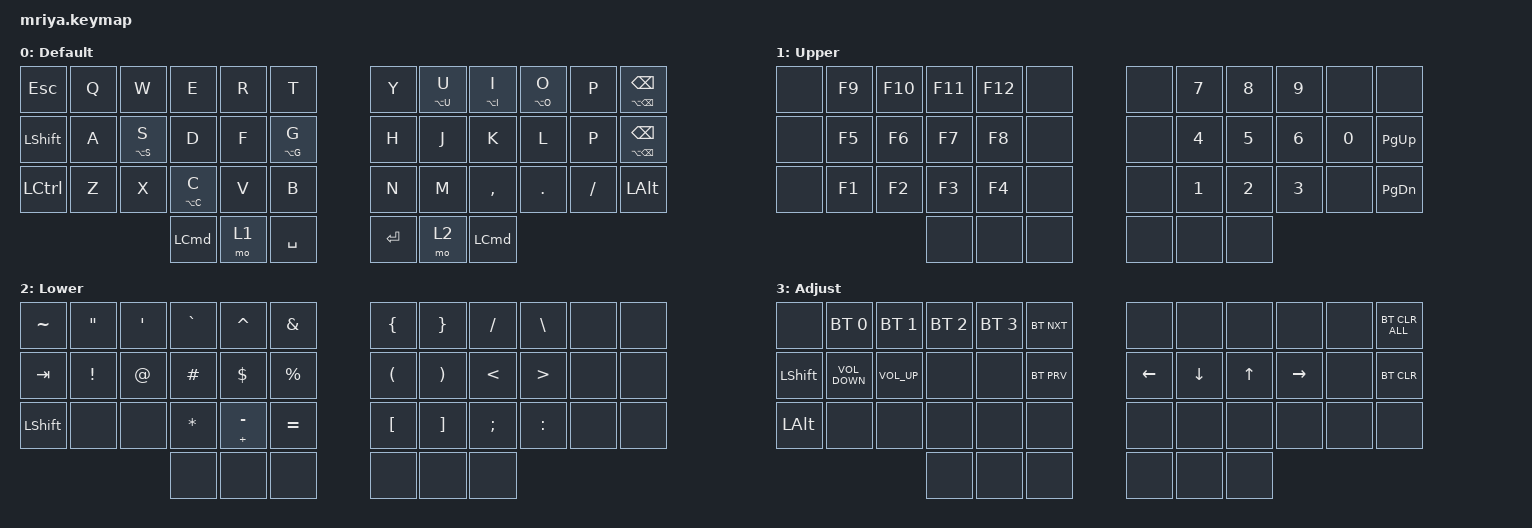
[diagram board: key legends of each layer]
/*
 * Copyright (c) 2020 The ZMK Contributors
 *
 * SPDX-License-Identifier: MIT
 */

#include <behaviors.dtsi>
#include <dt-bindings/zmk/bt.h>
#include <dt-bindings/zmk/keys.h>

#define BASE   0
#define LOWER  1
#define RAISE  2
#define ADJUST 3
#define NAVI   4

&lt {
};

&mt { flavor = "balanced"; };

/ {
};

/ {
    combos {
        compatible = "zmk,combos";

        pipe {
            bindings = <&kp PIPE>;
            key-positions = <8 9>;
            layers = <2>;
        };

        adjust-layer {
            bindings = <&mo 3>;
            key-positions = <37 40>;
            layers = <0>;
        };

        screenshot {
            bindings = <&screenshot>;
            key-positions = <16 19>;
            layers = <0>;
        };
    };
};

/ {
    macros {
        screenshot: screenshot {
            compatible = "zmk,behavior-macro";
            #binding-cells = <0>;
            bindings = <&kp LEFT_COMMAND &kp LEFT_SHIFT &kp NUMBER_4>;
            label = "SCREENSHOT";
        };
    };

    keymap {
        compatible = "zmk,keymap";

        // ▄▄▄▄▄▄▄▄▄▄▄▄▄▄▄▄▄▄▄▄▄▄▄▄▄▄▄▄▄▄▄▄▄▄▄▄▄▄▄▄▄▄▄▄▄▄▄▄▄▄▄▄▄▄▄▄▄▄▄▄▄▄▄▄▄▄▄▄▄▄▄▄▄▄▄▄▄▄▄▄▄▄▄▄▄▄▄▄▄▄▄▄▄▄▄▄▄▄▄▄▄▄▄▄▄▄▄▄▄▄▄▄▄▄

        default_layer {
            // ┌────────────────────────────────────────────┐

            label = "Default";

            // └────────────────────────────────────────────┘
            /*
┌───────┬───────┬───────┬───────┬───────┬───────┐                   ┌───────┬───────┬───────┬───────┬───────┬───────┐
│   ]   │   Q   │   W   │   E   │   R   │   T   │                   │   Y   │   U   │   I   │   O   │   P   │   [   │
├───────┼───────┼───────┼───────┼───────┼───────┤                   ├───────┼───────┼───────┼───────┼───────┼───────┤                      
│   `   │   A   │   S   │   D   │   F   │   G   │                   │   H   │   J   │   K   │   L   │   ;   │   '   │
├───────┼───────┼───────┼───────┼───────┼───────┤                   ├───────┼───────┼───────┼───────┼───────┼───────┤
│   \   │ Z/NAV │   X   │   C   │   V   │   B   │                   │   N   │   M   │   ,   │   .   │   /   │   -   │
└───────┴───────┴───────┴───────┼───────┼───────┼───────┐   ┌───────┼───────┼───────┼───────┴───────┴───────┴───────┘
                                │ RAISE │ SPACE │ LOWER │   │ LOWER │  BKSP │ RAISE │
                                └───────┴───────┴───────┘   └───────┴───────┴───────┘   
*/

            bindings = <
&kp ESCAPE        &kp Q  &kp W        &kp E        &kp R             &kp T                              &kp Y  &mt LA(U) U       &mt LA(I) I  &mt LA(O) O  &kp P     &mt LA(BACKSPACE) BACKSPACE
&kp LEFT_SHIFT    &kp A  &mt LA(S) S  &kp D        &kp F             &mt LA(G) G                        &kp H  &kp J             &kp K        &kp L        &kp P     &mt LA(BACKSPACE) BACKSPACE
&kp LEFT_CONTROL  &kp Z  &kp X        &mt LA(C) C  &kp V             &kp B                              &kp N  &kp M             &kp COMMA    &kp DOT      &kp FSLH  &kp LEFT_ALT
                                                   &kp LEFT_COMMAND  &mo 1        &kp SPACE  &kp ENTER  &mo 2  &kp LEFT_COMMAND
            >;
        };

        upper {
            // ┌────────────────────────────────────────────┐

            label = "Upper";

            // └────────────────────────────────────────────┘
            /*
┌───────┬───────┬───────┬───────┬───────┬───────┐                   ┌───────┬───────┬───────┬───────┬───────┬───────┐
│ BKSP  │   *   │   9   │   8   │   7   │   +   │                   │ NEXT  │ VOLU  │ PSCRN │       │       │ RGUI  │
├───────┼───────┼───────┼───────┼───────┼───────┤                   ├───────┼───────┼───────┼───────┼───────┼───────┤                      
│ CTRL  │   /   │   3   │   2   │   1   │   0   │                   │ PLAY  │ VOLD  │       │       │       │ CTRL  │
├───────┼───────┼───────┼───────┼───────┼───────┤                   ├───────┼───────┼───────┼───────┼───────┼───────┤
│ ALT/= │   .   │   6   │   5   │   4   │   -   │                   │ PREV  │ MUTE  │       │       │       │ RALT  │
└───────┴───────┴───────┴───────┼───────┼───────┼───────┐   ┌───────┼───────┼───────┼───────┴───────┴───────┴───────┘
                                │   ▲   │ LSHFT │  ADJ  │   │  ADJ  │ RSHFT │   ▲   │
                                └───────┴───────┴───────┘   └───────┴───────┴───────┘  
*/

            bindings = <
&none  &kp F9  &kp F10  &kp F11  &kp F12  &none                &none  &kp N7  &kp N8  &kp N9  &none         &none
&none  &kp F5  &kp F6   &kp F7   &kp F8   &none                &none  &kp N4  &kp N5  &kp N6  &kp NUMBER_0  &kp PAGE_UP
&none  &kp F1  &kp F2   &kp F3   &kp F4   &none                &none  &kp N1  &kp N2  &kp N3  &none         &kp PAGE_DOWN
                                 &none    &none  &none  &none  &none  &none
            >;
        };

        lower {
            bindings = <
&kp TILDE       &kp DOUBLE_QUOTES  &kp SINGLE_QUOTE  &kp GRAVE     &kp CARET       &kp AMPERSAND                &kp LEFT_BRACE        &kp RIGHT_BRACE        &kp SLASH      &kp BACKSLASH     &none  &none
&kp TAB         &kp EXCL           &kp AT_SIGN       &kp HASH      &kp DOLLAR      &kp PERCENT                  &kp LEFT_PARENTHESIS  &kp RIGHT_PARENTHESIS  &kp LESS_THAN  &kp GREATER_THAN  &none  &none
&kp LEFT_SHIFT  &none              &none             &kp ASTERISK  &mt PLUS MINUS  &kp EQUAL                    &kp LEFT_BRACKET      &kp RIGHT_BRACKET      &kp SEMICOLON  &kp COLON         &none  &none
                                                                   &none           &none          &none  &none  &none                 &none
            >;

            label = "Lower";
        };

        adjust {
            bindings = <
&none           &bt BT_SEL 0       &bt BT_SEL 1     &bt BT_SEL 2  &bt BT_SEL 3  &bt BT_NXT                &none     &none           &none         &none            &none  &bt BT_CLR_ALL
&kp LEFT_SHIFT  &kp C_VOLUME_DOWN  &kp C_VOLUME_UP  &none         &none         &bt BT_PRV                &kp LEFT  &kp DOWN_ARROW  &kp UP_ARROW  &kp RIGHT_ARROW  &none  &bt BT_CLR
&kp LEFT_ALT    &none              &none            &none         &none         &none                     &none     &none           &none         &none            &none  &none
                                                                  &none         &none       &none  &none  &none     &none
            >;

            label = "Adjust";
        };

        // ▄▄▄▄▄▄▄▄▄▄▄▄▄▄▄▄▄▄▄▄▄▄▄▄▄▄▄▄▄▄▄▄▄▄▄▄▄▄▄▄▄▄▄▄▄▄▄▄▄▄▄▄▄▄▄▄▄▄▄▄▄▄▄▄▄▄▄▄▄▄▄▄▄▄▄▄▄▄▄▄▄▄▄▄▄▄▄▄▄▄▄▄▄▄▄▄▄▄▄▄▄▄▄▄▄▄▄▄▄▄▄▄▄▄
        // ▄▄▄▄▄▄▄▄▄▄▄▄▄▄▄▄▄▄▄▄▄▄▄▄▄▄▄▄▄▄▄▄▄▄▄▄▄▄▄▄▄▄▄▄▄▄▄▄▄▄▄▄▄▄▄▄▄▄▄▄▄▄▄▄▄▄▄▄▄▄▄▄▄▄▄▄▄▄▄▄▄▄▄▄▄▄▄▄▄▄▄▄▄▄▄▄▄▄▄▄▄▄▄▄▄▄▄▄▄▄▄▄▄▄		
    };
};
